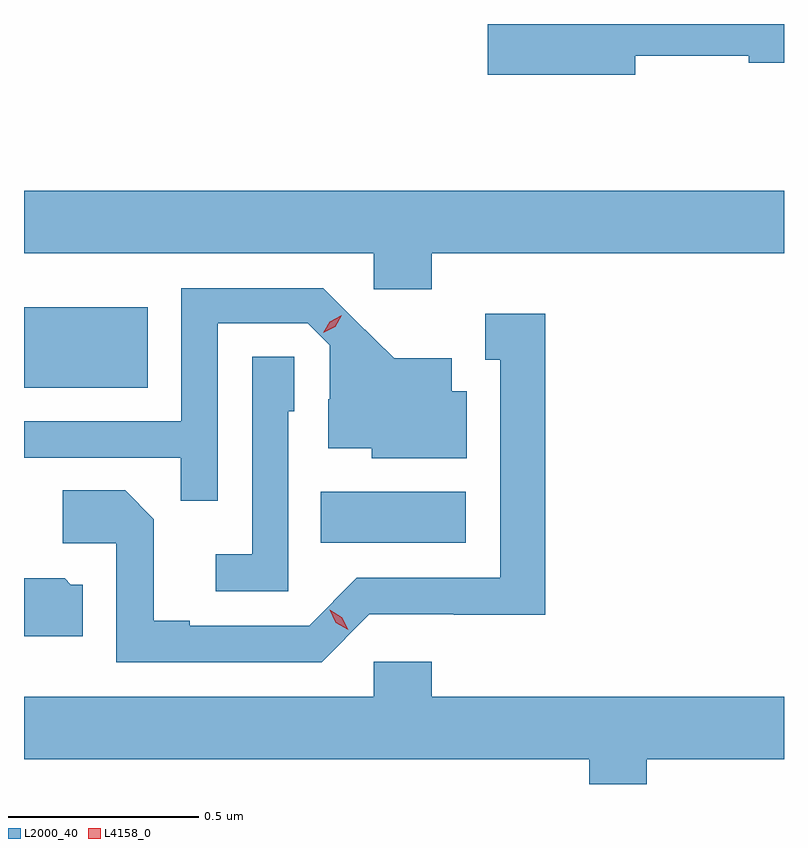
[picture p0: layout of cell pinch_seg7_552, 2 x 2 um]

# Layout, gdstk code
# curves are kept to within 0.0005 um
import gdstk
lib = gdstk.Library(unit=1e-6, precision=1e-09)
def R(c, l, rs):  # rectangles x0, y0, x1, y1
    for r in rs: c.add(gdstk.rectangle(r[:2], r[2:], *l))
def P(c, l, *ps):  # polygons
    for p in ps: c.add(gdstk.Polygon(p, *l))
L2000_40 = (2000, 40)
L4158_0 = (4158, 0)

pinch_seg7_552 = lib.new_cell('pinch_seg7_552')
R(pinch_seg7_552, L2000_40, [(149.578,1067.786,149.959,1067.92), (148.797,1068.194,149.122,1068.406)])
P(pinch_seg7_552, L2000_40, [(150.406,1069.068),(150.704,1069.068),(150.704,1069.049),(150.797,1069.049),(150.797,1069.151),(150.018,1069.151),(150.018,1069.018),(150.406,1069.018)],
  [(149.87,1068.548),(150.797,1068.548),(150.797,1068.712),(148.797,1068.712),(148.797,1068.548),(149.718,1068.548),(149.718,1068.453),(149.87,1068.453)],
  [(149.307,1068.363),(149.544,1068.363),(149.601,1068.306),(149.601,1068.164),(149.597,1068.164),(149.597,1068.035),(149.712,1068.035),(149.712,1068.008),(149.962,1068.008),(149.962,1068.184),(149.923,1068.184),(149.923,1068.271),(149.771,1068.271),(149.584,1068.456),(149.211,1068.456),(149.211,1068.105),(148.797,1068.105),(148.797,1068.009),(149.209,1068.009),(149.209,1067.896),(149.307,1067.896)],
  [(149.706,1067.598),(149.928,1067.598),(149.928,1067.597),(150.169,1067.597),(150.169,1068.388),(150.011,1068.388),(150.011,1068.267),(150.05,1068.267),(150.05,1067.694),(149.673,1067.694),(149.547,1067.568),(149.233,1067.568),(149.233,1067.581),(149.139,1067.581),(149.139,1067.848),(149.063,1067.924),(148.899,1067.924),(148.899,1067.784),(149.04,1067.784),(149.04,1067.472),(149.58,1067.472)],
  [(149.493,1068.132),(149.508,1068.132),(149.508,1068.275),(149.397,1068.275),(149.397,1067.755),(149.301,1067.755),(149.301,1067.658),(149.493,1067.658)],
  [(148.951,1067.676),(148.92,1067.676),(148.904,1067.692),(148.797,1067.692),(148.797,1067.54),(148.951,1067.54)],
  [(150.436,1067.216),(150.797,1067.216),(150.797,1067.38),(149.87,1067.38),(149.87,1067.473),(149.718,1067.473),(149.718,1067.38),(148.797,1067.38),(148.797,1067.216),(150.284,1067.216),(150.284,1067.151),(150.436,1067.151)])
P(pinch_seg7_552, L4158_0, [(149.65,1067.557),(149.618,1067.576),(149.602,1067.609),(149.602,1067.609),(149.602,1067.609),(149.633,1067.59),(149.65,1067.557),(149.65,1067.557)],
  [(149.585,1068.338),(149.585,1068.338),(149.602,1068.368),(149.633,1068.384),(149.633,1068.384),(149.633,1068.384),(149.616,1068.354),(149.585,1068.338)])

lib.write_gds('pinch_seg7_552.gds')
